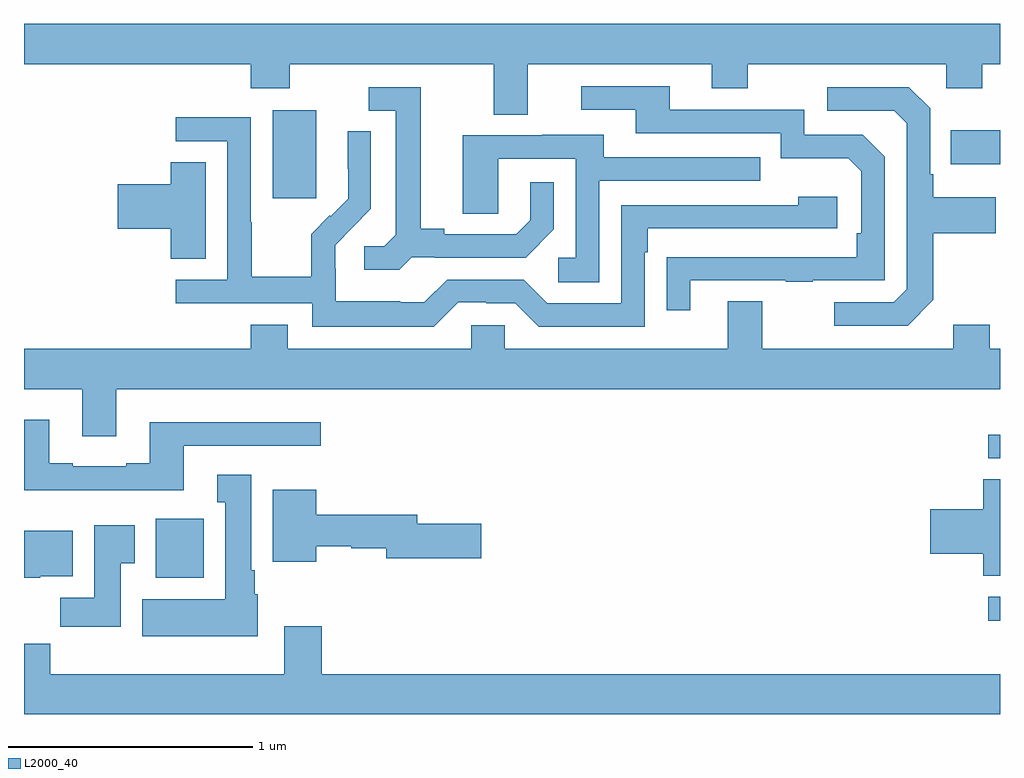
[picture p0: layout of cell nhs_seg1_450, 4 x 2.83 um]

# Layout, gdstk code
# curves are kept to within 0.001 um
import gdstk
lib = gdstk.Library(unit=1e-6, precision=1e-09)
def R(c, l, rs):  # rectangles x0, y0, x1, y1
    for r in rs: c.add(gdstk.rectangle(r[:2], r[2:], *l))
def P(c, l, *ps):  # polygons
    for p in ps: c.add(gdstk.Polygon(p, *l))
L2000_40 = (2000, 40)

nhs_seg1_450 = lib.new_cell('nhs_seg1_450')
R(nhs_seg1_450, L2000_40, [(138.951,566.767,139,566.865), (135.539,566.942,135.736,567.184), (138.951,567.432,139,567.528), (136.019,568.497,136.198,568.858), (138.799,568.637,139,568.777)])
P(nhs_seg1_450, L2000_40, [(137.065,569.048),(137.819,569.048),(137.819,568.949),(137.967,568.949),(137.967,569.048),(138.78,569.048),(138.78,568.949),(138.927,568.949),(138.927,569.048),(139,569.048),(139,569.212),(135,569.212),(135,569.048),(135.929,569.048),(135.929,568.949),(136.089,568.949),(136.089,569.048),(136.925,569.048),(136.925,568.84),(137.065,568.84)],
  [(137.731,568.161),(138.121,568.161),(138.121,568.156),(138.233,568.156),(138.233,568.161),(138.528,568.161),(138.528,568.668),(138.438,568.758),(138.198,568.758),(138.198,568.86),(137.647,568.86),(137.647,568.956),(137.283,568.956),(137.283,568.86),(137.507,568.86),(137.507,568.764),(138.102,568.764),(138.102,568.661),(138.379,568.661),(138.432,568.608),(138.432,568.354),(138.412,568.354),(138.412,568.257),(137.635,568.256),(137.635,568.038),(137.731,568.038)],
  [(136.59,568.257),(136.684,568.257),(136.684,568.254),(137.056,568.254),(137.172,568.37),(137.172,568.564),(137.075,568.564),(137.075,568.407),(137.018,568.35),(136.723,568.35),(136.723,568.373),(136.627,568.373),(136.627,568.953),(136.413,568.953),(136.413,568.857),(136.523,568.857),(136.523,568.349),(136.476,568.302),(136.395,568.302),(136.395,568.205),(136.538,568.205)],
  [(138.727,568.081),(138.727,568.354),(138.983,568.354),(138.983,568.501),(138.727,568.501),(138.727,568.597),(138.714,568.597),(138.714,568.866),(138.627,568.953),(138.291,568.953),(138.291,568.857),(138.567,568.857),(138.618,568.806),(138.618,568.125),(138.564,568.071),(138.321,568.071),(138.321,567.975),(138.621,567.975)],
  [(136.779,568.071),(136.895,568.071),(136.895,568.068),(137.013,568.068),(137.109,567.972),(137.544,567.972),(137.544,568.277),(137.557,568.277),(137.557,568.374),(138.334,568.374),(138.334,568.504),(138.173,568.504),(138.173,568.47),(137.448,568.47),(137.448,568.068),(137.145,568.068),(137.049,568.164),(136.734,568.164),(136.641,568.071),(136.541,568.071),(136.541,568.075),(136.278,568.075),(136.278,568.209),(136.276,568.209),(136.276,568.306),(136.422,568.454),(136.422,568.772),(136.326,568.772),(136.326,568.618),(136.328,568.618),(136.328,568.496),(136.257,568.425),(136.254,568.428),(136.177,568.351),(136.177,568.177),(135.933,568.177),(135.933,568.4),(135.93,568.4),(135.93,568.83),(135.621,568.83),(135.621,568.731),(135.834,568.731),(135.834,568.164),(135.621,568.164),(135.621,568.068),(136.182,568.068),(136.182,567.971),(136.679,567.971)],
  [(137.358,568.569),(138.017,568.569),(138.017,568.665),(137.377,568.665),(137.377,568.759),(137.123,568.759),(137.123,568.755),(136.799,568.755),(136.799,568.435),(136.944,568.435),(136.944,568.659),(137.262,568.659),(137.262,568.254),(137.19,568.254),(137.19,568.153),(137.358,568.153)],
  [(135.745,568.646),(135.602,568.646),(135.602,568.556),(135.384,568.556),(135.384,568.373),(135.602,568.373),(135.602,568.249),(135.745,568.249)],
  [(135.379,567.716),(139,567.716),(139,567.88),(138.957,567.88),(138.957,567.979),(138.809,567.979),(138.809,567.88),(138.025,567.88),(138.025,568.075),(137.885,568.075),(137.885,567.88),(136.971,567.88),(136.971,567.978),(136.833,567.978),(136.833,567.88),(136.081,567.88),(136.081,567.979),(135.929,567.979),(135.929,567.88),(135,567.88),(135,567.716),(135.239,567.716),(135.239,567.522),(135.379,567.522)],
  [(135.655,567.483),(136.216,567.483),(136.216,567.58),(135.515,567.58),(135.515,567.412),(135.419,567.412),(135.419,567.399),(135.199,567.399),(135.199,567.412),(135.103,567.412),(135.103,567.589),(135,567.589),(135,567.302),(135.655,567.302)],
  [(135.958,566.874),(135.946,566.874),(135.946,566.974),(135.931,566.974),(135.931,567.364),(135.791,567.364),(135.791,567.251),(135.824,567.251),(135.824,566.854),(135.485,566.854),(135.485,566.702),(135.958,566.702)],
  [(139,567.347),(138.932,567.347),(138.932,567.224),(138.714,567.224),(138.714,567.041),(138.932,567.041),(138.932,566.95),(139,566.95)],
  [(136.198,567.072),(136.341,567.072),(136.341,567.064),(136.484,567.064),(136.484,567.022),(136.873,567.022),(136.873,567.164),(136.612,567.164),(136.612,567.2),(136.198,567.2),(136.198,567.304),(136.019,567.304),(136.019,567.008),(136.198,567.008)],
  [(135.397,567.001),(135.454,567.001),(135.454,567.157),(135.287,567.157),(135.287,566.86),(135.148,566.86),(135.148,566.742),(135.397,566.742)],
  [(135.066,566.948),(135.199,566.948),(135.199,567.136),(135,567.136),(135,566.942),(135.066,566.942)],
  [(139,566.548),(136.22,566.548),(136.22,566.743),(136.067,566.743),(136.067,566.548),(135.107,566.548),(135.107,566.672),(135,566.672),(135,566.384),(139,566.384)])

lib.write_gds('nhs_seg1_450.gds')
